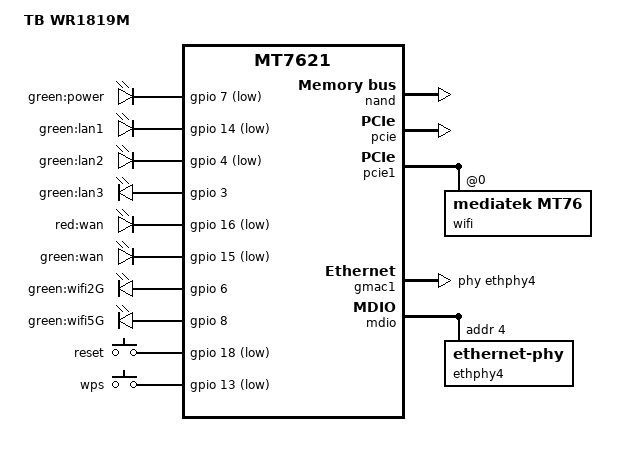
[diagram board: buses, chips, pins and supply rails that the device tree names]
// SPDX-License-Identifier: GPL-2.0-or-later OR MIT

#include "mt7621.dtsi"

#include <dt-bindings/gpio/gpio.h>
#include <dt-bindings/input/input.h>

/ {
	compatible = "tb,wr1819m", "mediatek,mt7621-soc";
	model = "TB WR1819M";

	aliases {
		label-mac-device = &gmac0;
		led-boot = &led_power;
		led-failsafe = &led_power;
		led-running = &led_power;
		led-upgrade = &led_power;
	};

	chosen {
		bootargs = "console=ttyS0,115200n8";
	};

	leds {
		compatible = "gpio-leds";

		led_power: power {
			label = "green:power";
			gpios = <&gpio 7 GPIO_ACTIVE_LOW>;
		};

		lan1 {
			label = "green:lan1";
			gpios = <&gpio 14 GPIO_ACTIVE_LOW>;
		};

		lan2 {
			label = "green:lan2";
			gpios = <&gpio 4 GPIO_ACTIVE_LOW>;
		};

		lan3 {
			label = "green:lan3";
			gpios = <&gpio 3 GPIO_ACTIVE_HIGH>;
		};

		wan_red {
			label = "red:wan";
			gpios = <&gpio 16 GPIO_ACTIVE_LOW>;
		};

		wan_green {
			label = "green:wan";
			gpios = <&gpio 15 GPIO_ACTIVE_LOW>;
		};

		wifi2g {
			label = "green:wifi2G";
			gpios = <&gpio 6 GPIO_ACTIVE_HIGH>;
		};

		wifi5g {
			label = "green:wifi5G";
			gpios = <&gpio 8 GPIO_ACTIVE_HIGH>;
		};

	};

	keys {
		compatible = "gpio-keys";

		reset {
			label = "reset";
			gpios = <&gpio 18 GPIO_ACTIVE_LOW>;
			linux,code = <KEY_RESTART>;
		};

		wps {
			label = "wps";
			gpios = <&gpio 13 GPIO_ACTIVE_LOW>;
			linux,code = <KEY_WPS_BUTTON>;
		};
	};
};

&nand {
	status = "okay";

	partitions {
		compatible = "fixed-partitions";
		#address-cells = <1>;
		#size-cells = <1>;

		partition@0 {
			label = "u-boot";
			reg = <0x0 0x80000>;
			read-only;
		};

		partition@80000 {
			label = "u-boot-env";
			reg = <0x80000 0x80000>;
		};

		factory: partition@100000 {
			label = "factory";
			reg = <0x100000 0x80000>;
			read-only;
		};

		partition@200000 {
			compatible = "denx,uimage";
			label = "firmware1";
			reg = <0x200000 0x7000000>;
		};

	};
};

&pcie {
	status = "okay";
};

&pcie1 {
	wifi@0,0 {
		compatible = "mediatek,mt76";
		reg = <0x0000 0 0 0 0>;
		mediatek,mtd-eeprom = <&factory 0x0>;

		nvmem-cells = <&macaddr_factory_4>;
		nvmem-cell-names = "mac-address";
	};
};

&gmac0 {
	nvmem-cells = <&macaddr_factory_28>;
	nvmem-cell-names = "mac-address";
};

&gmac1 {
	status = "okay";
	label = "wan";
	phy-handle = <&ethphy4>;

	nvmem-cells = <&macaddr_factory_8028>;
	nvmem-cell-names = "mac-address";
};

&mdio {
	ethphy4: ethernet-phy@4 {
		reg = <4>;
	};
};

&switch0 {
	ports {
		port@0 {
			status = "okay";
			label = "lan1";
		};

		port@1 {
			status = "okay";
			label = "lan2";
		};

		port@2 {
			status = "okay";
			label = "lan3";
		};
	};
};

&state_default {
	gpio {
		groups = "jtag", "uart3", "wdt";
		function = "gpio";
	};
};

&factory {
	compatible = "nvmem-cells";
	#address-cells = <1>;
	#size-cells = <1>;

	macaddr_factory_4: macaddr@4 {
		reg = <0x4 0x6>;
	};

	macaddr_factory_28: macaddr@28 {
		reg = <0x28 0x6>;
	};

	macaddr_factory_8028: macaddr@8028 {
		reg = <0x8028 0x6>;
	};
};
